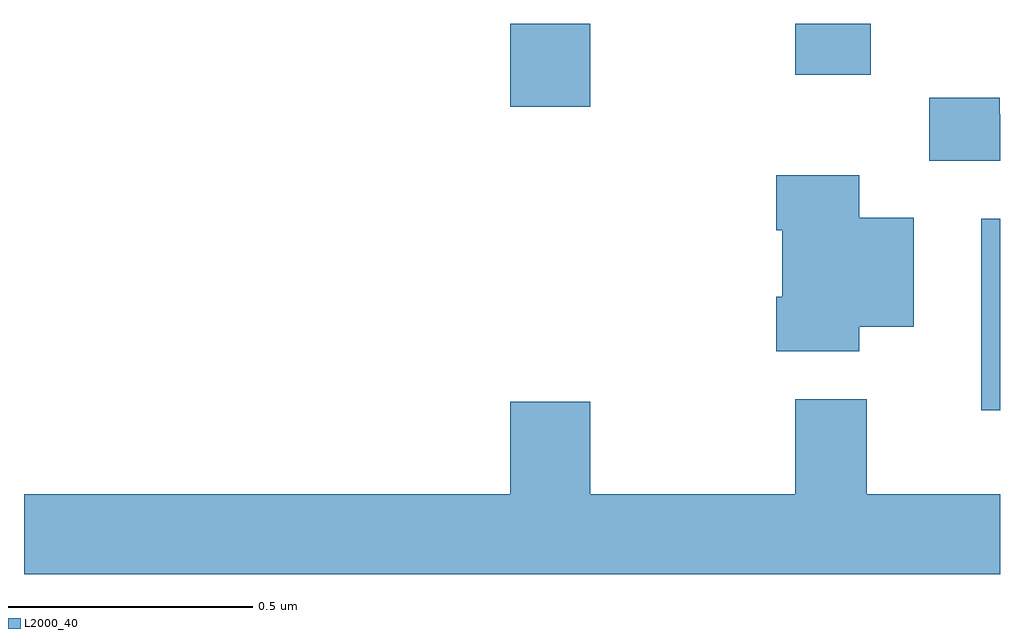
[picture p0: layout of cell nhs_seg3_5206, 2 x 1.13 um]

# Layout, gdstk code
import gdstk
lib = gdstk.Library(unit=1e-6, precision=1e-09)
def R(c, l, rs):  # rectangles x0, y0, x1, y1
    for r in rs: c.add(gdstk.rectangle(r[:2], r[2:], *l))
def P(c, l, *ps):  # polygons
    for p in ps: c.add(gdstk.Polygon(p, *l))
L2000_40 = (2000, 40)

nhs_seg3_5206 = lib.new_cell('nhs_seg3_5206')
R(nhs_seg3_5206, L2000_40, [(177.962,678.608,178,679), (176.996,679.23,177.16,679.4), (177.58,679.296,177.735,679.4)])
P(nhs_seg3_5206, L2000_40, [(178,679.215),(177.999,679.215),(177.999,679.248),(177.855,679.248),(177.855,679.119),(178,679.119)],
  [(177.712,678.779),(177.823,678.779),(177.823,679.003),(177.712,679.003),(177.712,679.09),(177.542,679.09),(177.542,678.977),(177.554,678.977),(177.554,678.841),(177.542,678.841),(177.542,678.729),(177.712,678.729)],
  [(178,678.436),(177.727,678.436),(177.727,678.631),(177.58,678.631),(177.58,678.436),(177.16,678.436),(177.16,678.625),(176.996,678.625),(176.996,678.436),(176,678.436),(176,678.272),(178,678.272)])

lib.write_gds('nhs_seg3_5206.gds')
